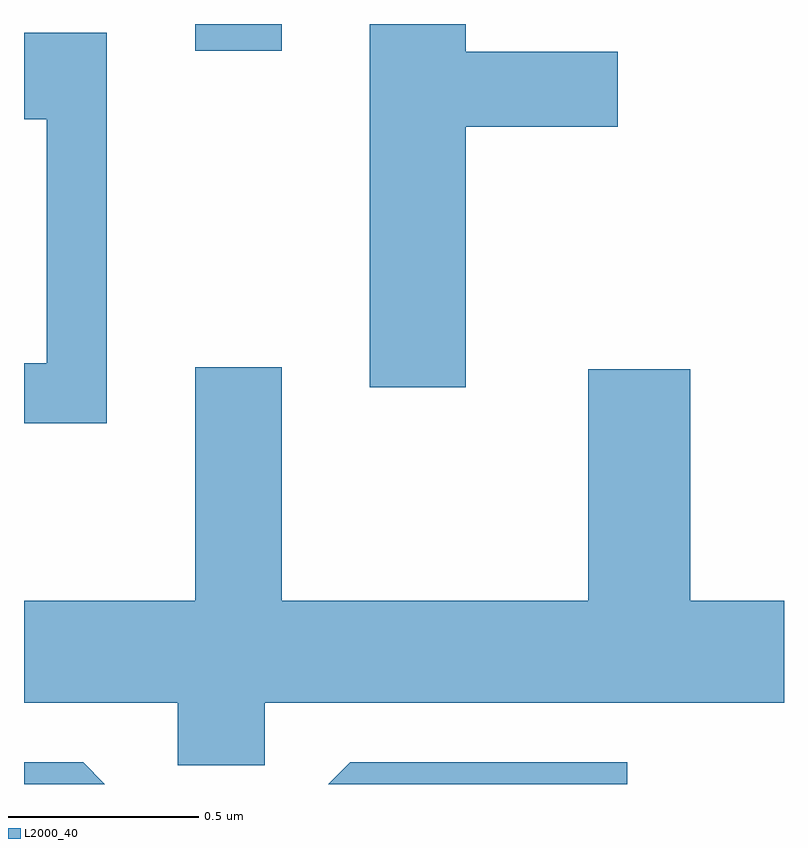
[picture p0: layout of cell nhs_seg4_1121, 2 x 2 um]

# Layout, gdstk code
import gdstk
lib = gdstk.Library(unit=1e-6, precision=1e-09)
def R(c, l, rs):  # rectangles x0, y0, x1, y1
    for r in rs: c.add(gdstk.rectangle(r[:2], r[2:], *l))
def P(c, l, *ps):  # polygons
    for p in ps: c.add(gdstk.Polygon(p, *l))
L2000_40 = (2000, 40)

nhs_seg4_1121 = lib.new_cell('nhs_seg4_1121')
R(nhs_seg4_1121, L2000_40, [(194.061,1280.911,194.289,1280.982)])
P(nhs_seg4_1121, L2000_40, [(194.774,1280.711),(195.174,1280.711),(195.174,1280.909),(194.774,1280.909),(194.774,1280.982),(194.521,1280.982),(194.521,1280.026),(194.774,1280.026)],
  [(193.829,1280.959),(193.611,1280.959),(193.611,1280.731),(193.671,1280.731),(193.671,1280.089),(193.611,1280.089),(193.611,1279.931),(193.829,1279.931)],
  [(194.244,1279.196),(195.611,1279.196),(195.611,1279.464),(195.364,1279.464),(195.364,1280.074),(195.096,1280.074),(195.096,1279.464),(194.289,1279.464),(194.289,1280.079),(194.061,1280.079),(194.061,1279.464),(193.611,1279.464),(193.611,1279.196),(194.016,1279.196),(194.016,1279.031),(194.244,1279.031)],
  [(195.199,1279.039),(194.469,1279.039),(194.412,1278.982),(195.199,1278.982)],
  [(193.767,1279.039),(193.611,1279.039),(193.611,1278.982),(193.824,1278.982)])

lib.write_gds('nhs_seg4_1121.gds')
